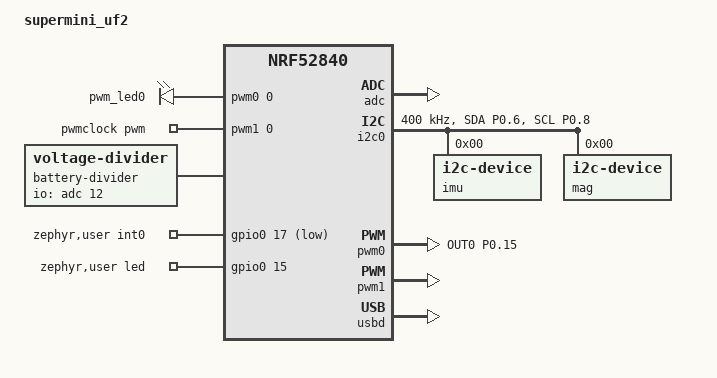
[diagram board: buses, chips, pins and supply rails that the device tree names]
// Copyright (c) 2024 Nordic Semiconductor ASA
// SPDX-License-Identifier: Apache-2.0

/dts-v1/;
#include <nordic/nrf52840_qiaa.dtsi>

//move to dtsi?
&pinctrl {
	i2c0_default: i2c0_default {
		group1 {
			psels = <NRF_PSEL(TWIM_SDA, 0, 6)>, <NRF_PSEL(TWIM_SCL, 0, 8)>;
			bias-disable;
		};
	};

	i2c0_sleep: i2c0_sleep {
		group1 {
			psels = <NRF_PSEL(TWIM_SDA, 0, 6)>, <NRF_PSEL(TWIM_SCL, 0, 8)>;
			bias-disable;
			low-power-enable;
		};
	};

	pwm0_default: pwm0_default {
		group1 {
			psels = <NRF_PSEL(PWM_OUT0, 0, 15)>;
		};
	};

	pwm0_sleep: pwm0_sleep {
		group1 {
			psels = <NRF_PSEL(PWM_OUT0, 0, 15)>;
			low-power-enable;
		};
	};

	pwm1_default: pwm1_default {
		group1 {
			psels = <NRF_PIN_DISCONNECTED>;
		};
	};

	pwm1_sleep: pwm1_sleep {
		group1 {
			psels = <NRF_PIN_DISCONNECTED>;
			low-power-enable;
		};
	};
};
//end

/ {
	model = "supermini_uf2";
	compatible = "supermini_uf2";

	chosen {
		zephyr,sram = &sram0;
		zephyr,flash = &flash0;
		zephyr,code-partition = &slot0_partition;
		zephyr,console = &cdc_acm_uart0;
		zephyr,shell-uart = &cdc_acm_uart0;
	};

	pwmleds {
		compatible = "pwm-leds";
		pwm_led0: pwm_led_0 {
			pwms = <&pwm0 0 PWM_MSEC(1) PWM_POLARITY_NORMAL>;
		};
	};

	// Uncomment below to Enable SW0
	// buttons {
	// 	compatible = "gpio-keys";
	// 	button0: button_0 {
	// 		gpios = <&gpio0 20 (GPIO_PULL_UP | GPIO_ACTIVE_LOW)>;
	// 		label = "Push button switch 0";
	// 	};
	// };

	// aliases {
	// 	sw0 = &button0;
	// };

	pwmclock: pwmclock {
		compatible = "pwm-clock";
		#clock-cells = <1>;
		pwms = <&pwm1 0 PWM_HZ(32768) PWM_POLARITY_NORMAL>;
	};

	battery-divider {
		compatible = "voltage-divider";
		status = "okay";
		io-channels = <&adc 12>; // Measure VDDHDIV5
		output-ohms = <1>;
		full-ohms = <5>;
	};

	zephyr,user {
		int0-gpios = <&gpio0 17 (GPIO_ACTIVE_LOW | GPIO_PULL_UP)>;
		led-gpios = <&gpio0 15 GPIO_OPEN_SOURCE>;
		// clk-gpios = <&gpio0 20 GPIO_OPEN_DRAIN>; // Uncomment and set to correct pin if using an external clock (crystal oscillator)
	};

};

&flash0 {
	partitions {
		compatible = "fixed-partitions";
		#address-cells = <1>;
		#size-cells = <1>;

		boot_partition: partition@0 {
			label = "mcuboot";
			reg = <0x0 0xc000>;
		};
		slot0_partition: partition@c000 {
			label = "image-0";
			reg = <0xc000 0x72000>;
		};
		slot1_partition: partition@7e000 {
			label = "image-1";
			reg = <0x7e000 0x72000>;
		};
		scratch_partition: partition@f0000 {
			label = "image-scratch";
			reg = <0xf0000 0xa000>;
		};
		storage_partition: partition@fa000 {
			label = "storage";
			reg = <0xfa000 0x6000>;
		};
	};
};

&adc {
	status = "okay";
};

&gpiote {
	status = "okay";
};

&gpio0 {
	status = "okay";
};

&gpio1 {
	status = "okay";
};

&i2c0 {
	compatible = "nordic,nrf-twim";
	status = "okay";
	zephyr,concat-buf-size = <255>; // probable max for nrf52832
	zephyr,flash-buf-max-size = <255>; // probable max for nrf52832
	clock-frequency = <I2C_BITRATE_FAST>;
	pinctrl-0 = <&i2c0_default>;
	pinctrl-1 = <&i2c0_sleep>;
	pinctrl-names = "default", "sleep";

	imu: imu@0 { // any address out of range (00, 7f, etc. will search all addresses and stored address first if available, specify an address here to search first otherwise
		compatible = "i2c-device";
		label = "imu";
		reg = <0>;
	};

	mag: mag@0 {
		compatible = "i2c-device";
		label = "mag";
		reg = <0>;
	};

};

&pwm0 {
	status = "okay";
	pinctrl-0 = <&pwm0_default>;
	pinctrl-1 = <&pwm0_sleep>;
	pinctrl-names = "default", "sleep";
};

&pwm1 {
	status = "okay";
	pinctrl-0 = <&pwm1_default>;
	pinctrl-1 = <&pwm1_sleep>;
	pinctrl-names = "default", "sleep";
};

zephyr_udc0: &usbd {
	compatible = "nordic,nrf-usbd";
	status = "okay";
	cdc_acm_uart0: cdc_acm_uart0 {
		compatible = "zephyr,cdc-acm-uart";
	};
};

&cryptocell {
	status = "disabled";
};

&nfct {
	status = "disabled";
};
